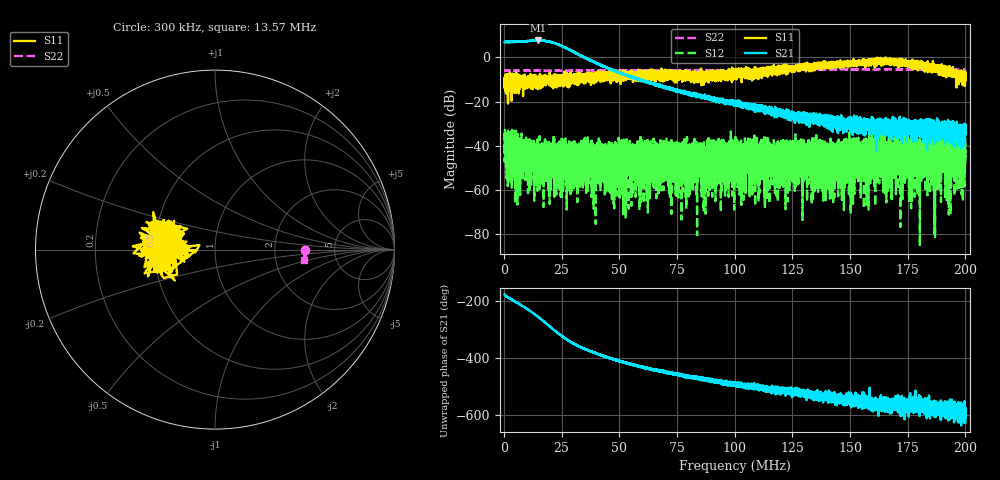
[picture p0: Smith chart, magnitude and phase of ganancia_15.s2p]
# Hz S DB R 50
! CMT, M5065, 19127446, 24.2.4/2
! Date: 10/29/2024 1:10:02 PM
! Data: Format (Calibration Info)
! Freq	S11:dB/Ang(F2)	S21:dB/Ang(F2)	S12:dB/Ang(F2)	S22:dB/Ang(F2)
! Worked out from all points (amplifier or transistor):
!   9000 points, 300 kHz to 200 MHz, reference 50 ohm
!   highest |S21| = 7.7 dB at 14.97 MHz (marker M1)
!   |S21| within 3 dB of that: start of sweep to 26.05 MHz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
!   unconditionally stable (mu >= 1): start of sweep to end of sweep
!   at 33.59 MHz: K = 49.70, MAG = 2.5 dB, |S12| = -44.3 dB
!   at 100.2 MHz: K = 551.51, MAG = -18.6 dB, |S12| = -44.8 dB
!   at 200 MHz: K = 3097.88, MAG = -30.7 dB, |S12| = -47.0 dB
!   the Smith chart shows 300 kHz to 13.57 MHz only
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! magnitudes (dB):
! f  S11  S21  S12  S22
! 300 kHz  -11.1  7.0  -34.2  -6.0
! 1.765 MHz  -20.9  6.9  -38.9  -6.0
! 14.97 MHz  -12.7  7.7  -45.3  -6.0
! 33.59 MHz  -9.5  0.7  -44.3  -5.9
! 37.49 MHz  -8.5  -1.3  -45.0  -5.9
! 39.22 MHz  -7.3  -2.2  -42.6  -5.9
! 41.33 MHz  -8.4  -3.1  -56.7  -5.9
! 50.76 MHz  -7.6  -7.2  -54.7  -5.9
! 54.05 MHz  -6.5  -8.3  -46.1  -5.8
! 66.87 MHz  -7.2  -12.6  -45.1  -5.8
! 78.57 MHz  -8.4  -16.0  -41.2  -5.7
! 100.2 MHz  -6.4  -21.1  -44.8  -5.7
! 133.4 MHz  -3.7  -25.7  -44.6  -5.4
! 155.1 MHz  -2.3  -29.1  -48.0  -5.3
! 159.3 MHz  -2.5  -33.4  -43.0  -5.4
! 166.7 MHz  -1.4  -31.4  -38.3  -5.4
! 178.5 MHz  -3.2  -29.8  -47.2  -5.5
! 185.9 MHz  -5.0  -30.3  -39.2  -5.5
! 190 MHz  -5.6  -32.1  -46.0  -5.5
! 192.9 MHz  -4.4  -31.3  -39.8  -5.5
! 195.1 MHz  -6.8  -34.6  -44.6  -5.5
! 200 MHz  -10.3  -32.6  -47.0  -5.6
